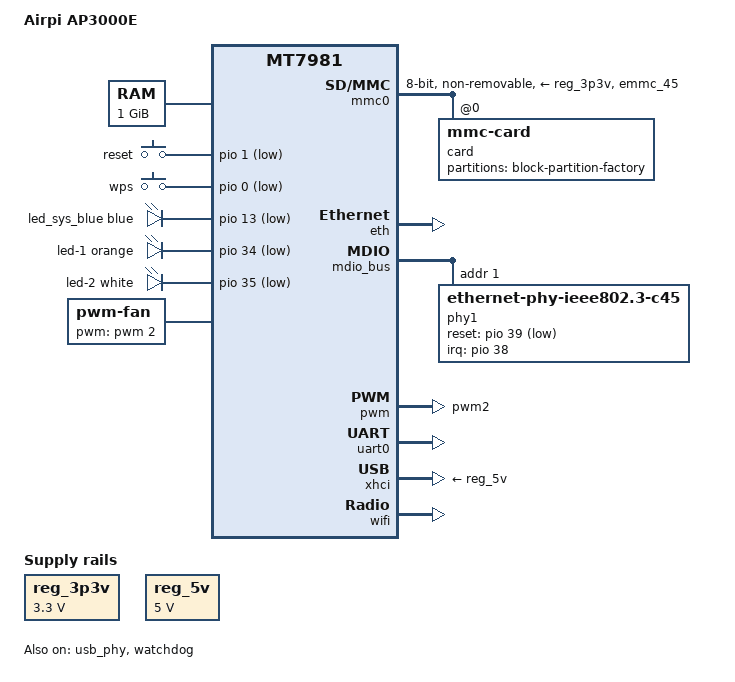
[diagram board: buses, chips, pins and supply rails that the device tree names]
// SPDX-License-Identifier: (GPL-2.0 OR MIT)

/dts-v1/;

#include <dt-bindings/gpio/gpio.h>
#include <dt-bindings/input/input.h>
#include <dt-bindings/leds/common.h>

#include "mt7981.dtsi"

/ {
	model = "Airpi AP3000E";
	compatible = "airpi,ap3000e", "mediatek,mt7981";

	aliases {
		ethernet0 = &gmac0;
		ethernet1 = &gmac1;
		serial0 = &uart0;

		led-boot = &led_sys_blue;
		led-failsafe = &led_sys_blue;
		led-running = &led_sys_blue;
		led-upgrade = &led_sys_blue;
	};

	chosen {
		stdout-path = "serial0:115200n8";
		bootargs = "root=PARTLABEL=rootfs rootwait";
	};

	memory {
		reg = <0 0x40000000 0 0x40000000>;
	};

	gpio-keys {
		compatible = "gpio-keys";

		reset {
			label = "reset";
			linux,code = <KEY_RESTART>;
			gpios = <&pio 1 GPIO_ACTIVE_LOW>;
		};

		wps {
			label = "wps";
			linux,code = <KEY_WPS_BUTTON>;
			gpios = <&pio 0 GPIO_ACTIVE_LOW>;
		};
	};

	gpio-leds {
		compatible = "gpio-leds";

		led_sys_blue: led-0 {
			function = LED_FUNCTION_STATUS;
			color = <LED_COLOR_ID_BLUE>;
			gpios = <&pio 13 GPIO_ACTIVE_LOW>;
		};

		led-1 {
			function = LED_FUNCTION_WLAN_2GHZ;
			color = <LED_COLOR_ID_ORANGE>;
			gpios = <&pio 34 GPIO_ACTIVE_LOW>;
			linux,default-trigger = "phy0tpt";
		};

		led-2 {
			function = LED_FUNCTION_WLAN_5GHZ;
			color = <LED_COLOR_ID_WHITE>;
			gpios = <&pio 35 GPIO_ACTIVE_LOW>;
			linux,default-trigger = "phy1tpt";
		};
	};

	reg_3p3v: regulator-3p3v {
		compatible = "regulator-fixed";
		regulator-name = "fixed-3.3V";
		regulator-min-microvolt = <3300000>;
		regulator-max-microvolt = <3300000>;
		regulator-boot-on;
		regulator-always-on;
	};

	reg_5v: regulator-5v {
		compatible = "regulator-fixed";
		regulator-name = "fixed-5V";
		regulator-min-microvolt = <5000000>;
		regulator-max-microvolt = <5000000>;
		regulator-boot-on;
		regulator-always-on;
	};

 	fan: pwm-fan {
 		compatible = "pwm-fan";
 		/* cooling level (0, 1, 2, 3, 4, 5, 6, 7) : (0%/25%/37.5%/50%/62.5%/75%/87.5%/100% duty) */
		cooling-levels = <0 1 2 3 4 5 6 7 8 9 10 11 12 13 14 15 16 17 18 19 20 21 22 23 24 25 26 27 28 29 30 31 32 33 34 35 36 37 38 39 40 41 42 43 44 45 46 47 48 49 50 51 52 53 54 55 56 57 58 59 60 61 62 63 64 65 66 67 68 69 70 71 72 73 74 75 76 77 78 79 80 81 82 83 84 85 86 87 88 89 90 91 92 93 94 95 96 97 98 99 100 101 102 103 104 105 106 107 108 109 110 111 112 113 114 115 116 117 118 119 120 121 122 123 124 125 126 127 128 129 130 131 132 133 134 135 136 137 138 139 140 141 142 143 144 145 146 147 148 149 150 151 152 153 154 155 156 157 158 159 160 161 162 163 164 165 166 167 168 169 170 171 172 173 174 175 176 177 178 179 180 181 182 183 184 185 186 187 188 189 190 191 192 193 194 195 196 197 198 199 200 201 202 203 204 205 206 207 208 209 210 211 212 213 214 215 216 217 218 219 220 221 222 223 224 225 226 227 228 229 230 231 232 233 234 235 236 237 238 239 240 241 242 243 244 245 246 247 248 249 250 251 252 253 254 255>;
		pwms = <&pwm 2 10000 0>;
		pinctrl-names = "default";
 	};    

};

&mmc0 {
	bus-width = <8>;
	cap-mmc-highspeed;
	max-frequency = <26000000>;
	non-removable;
	pinctrl-names = "default", "state_uhs";
	pinctrl-0 = <&mmc0_pins_default>;
	pinctrl-1 = <&mmc0_pins_uhs>;
	vmmc-supply = <&reg_3p3v>;
	status = "okay";

	card@0 {
		compatible = "mmc-card";
		reg = <0>;

		block {
			compatible = "block-device";

			partitions {
				block-partition-factory {
					partname = "factory";

					nvmem-layout {
						compatible = "fixed-layout";
						#address-cells = <1>;
						#size-cells = <1>;

						eeprom_factory_0: eeprom@0 {
							reg = <0x0 0x1000>;
						};

						macaddr_factory_4: macaddr@4 {
							compatible = "mac-base";
							reg = <0x4 0x6>;
							#nvmem-cell-cells = <1>;
						};
					};
				};
			};
		};
	};

};

&eth {
	pinctrl-names = "default";
	pinctrl-0 = <&mdio_pins>;
	status = "okay";

	gmac0: mac@0 {
		compatible = "mediatek,eth-mac";
		reg = <0>;
		phy-mode = "2500base-x";
		phy-handle = <&phy1>;
		nvmem-cells = <&macaddr_factory_4 2>;
		nvmem-cell-names = "mac-address";
	};

	gmac1: mac@1 {
		compatible = "mediatek,eth-mac";
		reg = <1>;
		phy-mode = "gmii";
		phy-handle = <&int_gbe_phy>;

		nvmem-cells = <&macaddr_factory_4 3>;
		nvmem-cell-names = "mac-address";
	};
};

&mdio_bus {
	phy1: phy@1 {
		compatible = "ethernet-phy-ieee802.3-c45";
		reg = <1>;
		reset-assert-us = <100000>;
		reset-deassert-us = <100000>;
		reset-gpios = <&pio 39 GPIO_ACTIVE_LOW>;
		interrupts = <38 IRQ_TYPE_LEVEL_LOW>;
		interrupt-parent = <&pio>;
		realtek,aldps-enable;
	};
};

&pio {
	mmc0_pins_default: mmc0-pins-default {
		mux {
			function = "flash";
			groups = "emmc_45";
		};
	};

	mmc0_pins_uhs: mmc0-pins-uhs {
		mux {
			function = "flash";
			groups = "emmc_45";
		};
	};

	pwm2_pins: pwm2-pins {
		mux {
			function = "pwm";
			groups = "pwm2";
		};
	};
};

&pwm {
	pinctrl-names = "default";
	pinctrl-0 = <&pwm2_pins>;
	status = "okay";
};

&uart0 {
	status = "okay";
};

&usb_phy {
	status = "okay";
};

&watchdog {
	status = "okay";
};

&fan {
	pwms = <&pwm 2 40000 0>;
	status = "okay";
};

&xhci {
	vbus-supply = <&reg_5v>;
	status = "okay";
};

&wifi {
	nvmem-cells = <&eeprom_factory_0>;
	nvmem-cell-names = "eeprom";
	status = "okay";
};
